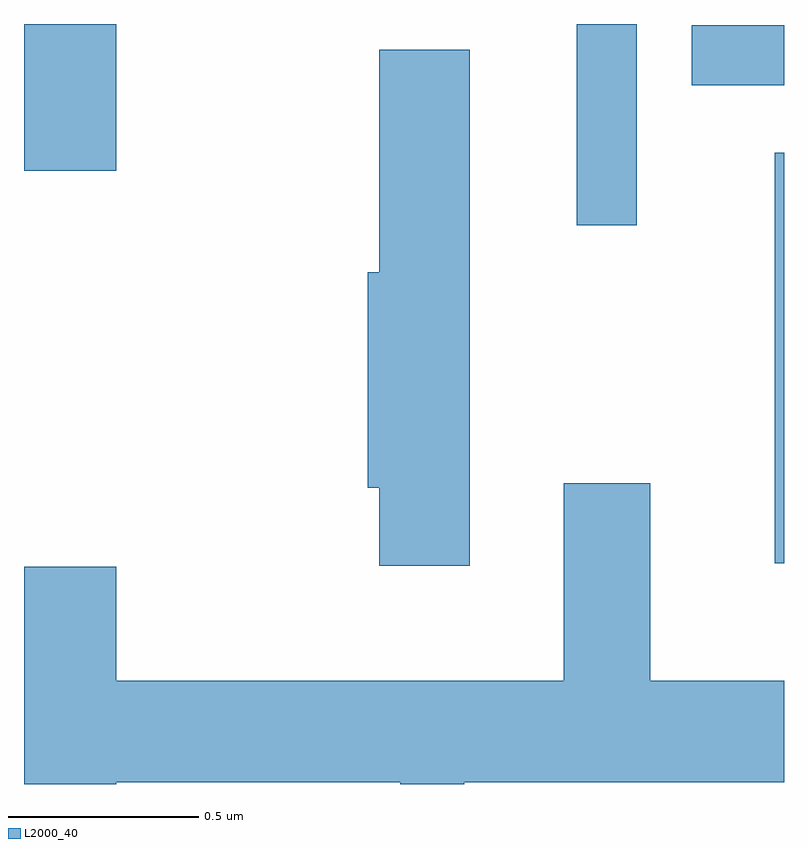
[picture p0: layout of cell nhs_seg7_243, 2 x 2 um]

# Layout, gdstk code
import gdstk
lib = gdstk.Library(unit=1e-6, precision=1e-09)
def R(c, l, rs):  # rectangles x0, y0, x1, y1
    for r in rs: c.add(gdstk.rectangle(r[:2], r[2:], *l))
def P(c, l, *ps):  # polygons
    for p in ps: c.add(gdstk.Polygon(p, *l))
L2000_40 = (2000, 40)

nhs_seg7_243 = lib.new_cell('nhs_seg7_243')
R(nhs_seg7_243, L2000_40, [(188.586,1774.833,188.611,1775.913), (188.066,1775.723,188.224,1776.252), (186.611,1775.866,186.854,1776.252), (188.368,1776.091,188.611,1776.249)])
P(nhs_seg7_243, L2000_40, [(187.784,1776.184),(187.546,1776.184),(187.546,1775.599),(187.516,1775.599),(187.516,1775.031),(187.546,1775.031),(187.546,1774.826),(187.784,1774.826)],
  [(186.854,1774.256),(187.601,1774.256),(187.601,1774.252),(187.769,1774.252),(187.769,1774.256),(188.611,1774.256),(188.611,1774.524),(188.259,1774.524),(188.259,1775.044),(188.031,1775.044),(188.031,1774.524),(186.854,1774.524),(186.854,1774.824),(186.611,1774.824),(186.611,1774.252),(186.854,1774.252)])

lib.write_gds('nhs_seg7_243.gds')
